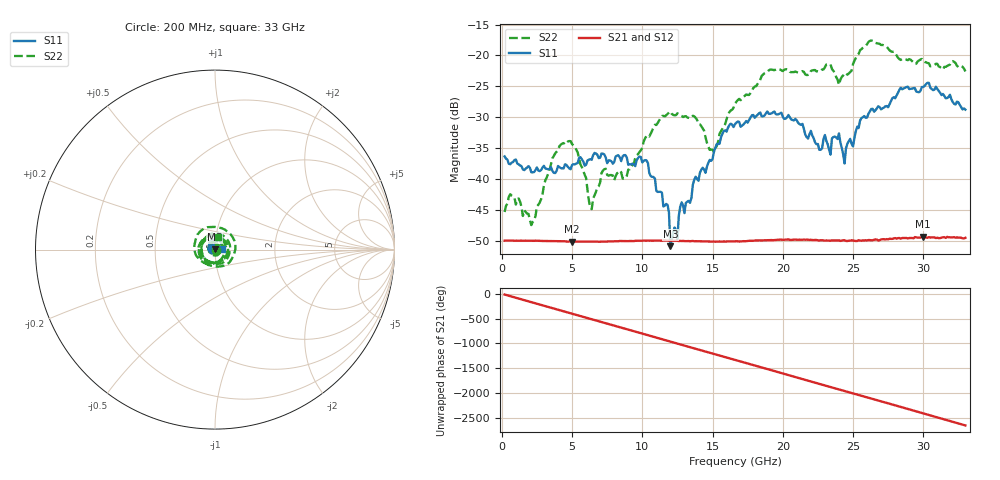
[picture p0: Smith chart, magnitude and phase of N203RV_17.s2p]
# GHZ S RI R 50
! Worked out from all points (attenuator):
!   329 points, 200 MHz to 33 GHz, reference 50 ohm
!   highest |S21| = -49.34 dB at 30 GHz (marker M1); lowest = -50.1 dB at 5 GHz (marker M2)
!   lowest |S11| = -50.9 dB at 12 GHz (marker M3), VSWR 1.01, Z = 49.8 + j0.145 ohm
!   |S11| at or under -10 dB: start of sweep to end of sweep
!   |S22| runs from -47.4 to -17.6 dB; largest |S21 - S12| = 7.3e-05
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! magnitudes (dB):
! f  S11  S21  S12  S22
! 200 MHz  -36.3  -50.0  -49.9  -45.3
! 600 MHz  -37.6  -50.0  -50.0  -42.5
! 2.1 GHz  -38.9  -50.0  -50.0  -47.4
! 3.6 GHz  -38.7  -50.0  -50.0  -36.7
! 5 GHz  -37.7  -50.1  -50.1  -34.3
! 5.7 GHz  -36.8  -50.1  -50.1  -38.1
! 6.4 GHz  -36.9  -50.1  -50.1  -44.9
! 7.2 GHz  -35.9  -50.1  -50.1  -38.6
! 9.9 GHz  -36.4  -50.0  -50.0  -35.3
! 11.2 GHz  -42.1  -49.9  -49.9  -30.5
! 11.8 GHz  -44.2  -50.0  -49.9  -29.5
! 12 GHz  -50.9  -50.0  -49.9  -29.1
! 15.1 GHz  -35.6  -50.1  -50.1  -35.6
! 16.6 GHz  -31.1  -50.1  -50.1  -27.8
! 22.1 GHz  -32.9  -49.9  -49.8  -22.4
! 23.4 GHz  -36.0  -50.0  -49.9  -21.4
! 24 GHz  -32.6  -49.9  -49.9  -24.8
! 24.4 GHz  -37.5  -49.9  -49.9  -22.9
! 25.6 GHz  -30.1  -50.0  -49.9  -19.0
! 27.6 GHz  -27.9  -49.7  -49.7  -19.2
! 30 GHz  -25.1  -49.3  -49.4  -20.9
! 33 GHz  -28.8  -49.5  -49.5  -22.6
